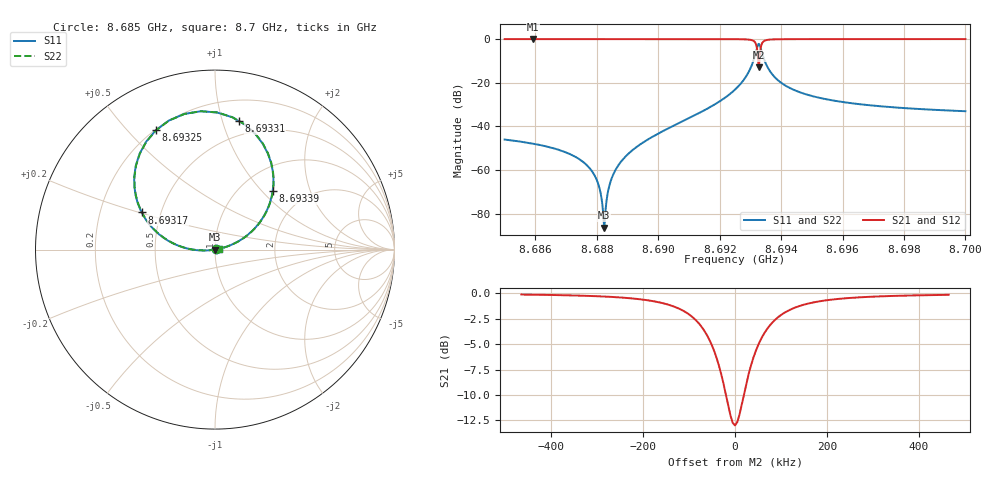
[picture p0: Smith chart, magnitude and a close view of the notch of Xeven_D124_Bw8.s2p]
! Sonnet Data File
! From: emgraph Version : 16.52
! From Emgraph Data: Qubit_Xmon2_brg2
! Data File Written: 10/23/2017 21:19:42
!< HDATE 10/23/2017 20:52:05
!< MDATE 10/23/2017 20:52:05
!< PARAMS
!< Lj = 11.0
!< Gap = 6.0
!< Pwid = 2000.0
!< Width = 10.0
!< Dist = 256.0000835
!< END PARAMS
# GHZ S MA R 51.00000
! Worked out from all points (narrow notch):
!   3001 points, 8.685 GHz to 8.7 GHz, reference 51 ohm
!   highest |S21| = 0.00 dB at 8.68591 GHz (marker M1); lowest = -13.0 dB at 8.69327 GHz (marker M2)
!   notch at M2: 13.0 dB deep, 77.9 kHz wide at half that depth
!   lowest |S11| = -86.5 dB at 8.68825 GHz (marker M3), VSWR 1.00, Z = 51 + j0.00471 ohm
!   |S11| at or under -10 dB: start of sweep to 8.693097 GHz; 8.693467 GHz to end of sweep
!   |S22| runs from -86.0 to -2.2 dB; largest |S21 - S12| = 0
!   S11 on the Smith chart (normalised r, x): 8.685 GHz: 1.01, +0.00; 8.69317 GHz: 0.39, +0.20; 8.69325 GHz: 0.20, +0.60; 8.69331 GHz: 0.37, +1.13; 8.69339 GHz: 1.39, +1.15; 8.7 GHz: 1.04, +0.01
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8.685  0.004977 10.3  1 -80.0  1 -80.0  0.004977 10.1
!< P1 F=8.685 Eeff=(6.44683879 -2.9786e-5) Z0=(51.7993663 1.19075e-4) R=0.0 C=0.0
!< P2 F=8.685 Eeff=(6.44683879 -2.9786e-5) Z0=(51.7993663 1.19075e-4) R=0.0 C=0.0
8.685915  0.004017 10.3  1 -80.1  1 -80.1  0.004017 10.2
8.6875  0.001636 11.1  1 -80.2  1 -80.2  0.001636 11.0
8.687965  0.0006679 13.4  1 -80.3  1 -80.3  0.0006681 13.5
8.688245  4.748e-05 103.5  1 -80.3  1 -80.3  5.018e-05 103.2
8.688465  0.0005863 -175.3  0.9999 -80.4  0.9999 -80.4  0.0005866 -175.8
8.68873  0.00136 -172.8  0.9999 -80.4  0.9999 -80.4  0.00136 -173.1
8.68922  0.003058 -171.8  0.9999 -80.5  0.9999 -80.5  0.003058 -172.0
8.69  0.006809 -171.6  0.9999 -80.8  0.9999 -80.8  0.006809 -171.8
8.69172  0.02837 -172.9  0.9991 -82.0  0.9991 -82.0  0.02837 -173.1
8.6925  0.06944 -175.9  0.9956 -84.4  0.9956 -84.4  0.06944 -176.1
8.69301  0.219 172.9  0.9598 -93.0  0.9598 -93.0  0.219 172.7
8.693165  0.458 153.1  0.8148 -107.2  0.8148 -107.2  0.458 152.9
8.69325  0.742 116.4  0.3591 -116.7  0.3591 -116.7  0.742 116.2
8.693275  0.7763 99.4  0.2238 -79.4  0.2238 -79.4  0.7763 99.2
8.693305  0.7304 79.5  0.4035 -41.6  0.4035 -41.6  0.7304 79.3
8.69339  0.459 45.5  0.8205 -53.4  0.8205 -53.4  0.459 45.3
8.69354  0.2414 27.4  0.9547 -66.5  0.9547 -66.5  0.2414 27.2
8.693905  0.1129 17.7  0.9907 -73.9  0.9907 -73.9  0.1129 17.5
8.695  0.04964 13.0  0.9984 -77.6  0.9984 -77.6  0.04964 12.8
8.6975  0.0278 11.4  0.9995 -78.8  0.9995 -78.8  0.0278 11.2
8.7  0.02219 11.0  0.9997 -79.2  0.9997 -79.2  0.02219 10.8
